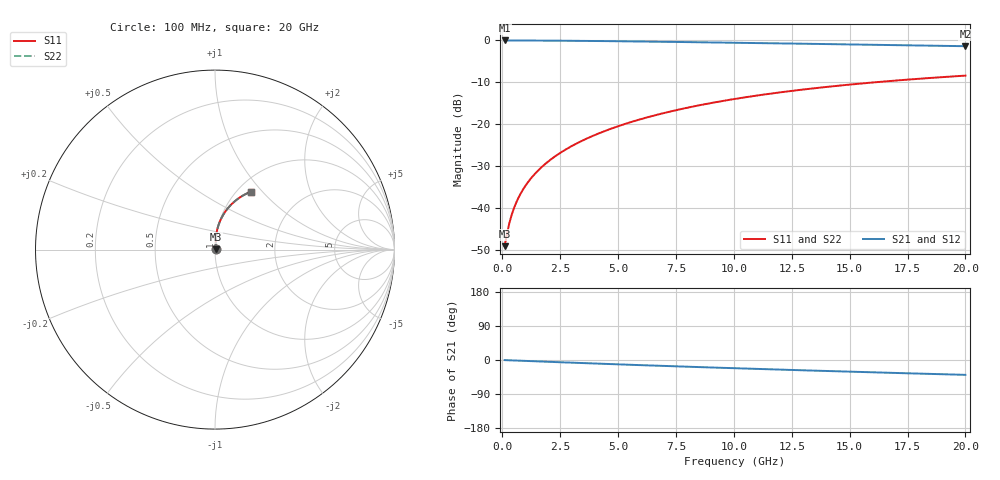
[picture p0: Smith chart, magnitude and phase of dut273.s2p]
! Touchstone file exported from HFSS 2024.1.0
!  File:  C:/UserFiles/LocalFiles/RDL_TSV_Batchsim/temp_RDL_bottom_273_1778702657.aedt
!  Generated:  04:06:40 AM May 14, 2026
!  Design:  RDL_bottom
!  Project:  temp_RDL_bottom_273_1778702657
!  Setup:  Setup1
!  Solution:  Sweep
! Variables:
!  dtsv = 10.80580581um
!  hbump = 3um
!  htsv = 71.61um
!  ldown = 510.22um
!  lrdl = 100um
!  p = 40
!  p1 = 59.57um
!  rhole = 1um
!  t = 450um
!  tdown = 2.77um
!  trdl = 3.915915916um
!  wdown = 24.5um
!  wrdl = 20um
# GHz S MA R 50.000000
! Terminal data exported
! Port[1] = RDL1_T1
! Port[2] = RDL1_T2
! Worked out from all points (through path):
!   200 points, 100 MHz to 20 GHz, reference 50 ohm
!   highest |S21| = -0.03 dB at 100 MHz (marker M1); lowest = -1.4 dB at 20 GHz (marker M2)
!   group delay of S21, straight-line fit = 5.39 ps
!   lowest |S11| = -49.0 dB at 100 MHz (marker M3), VSWR 1.01, Z = 50.3 + j0.198 ohm
!   |S11| at or under -10 dB: start of sweep to 16.07 GHz
!   |S22| runs from -49.0 to -8.4 dB; largest |S21 - S12| = 3.6e-15
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0.1  0.003532 33.9  0.9971 -0.2  0.9971 -0.2  0.003532 33.9
! Gamma 0 0 0 0
! Port Impedance 50 0 50 0
0.2  0.004938 52.0  0.9969 -0.5  0.9969 -0.5  0.004938 52.0
0.3  0.006571 61.1  0.9967 -0.7  0.9967 -0.7  0.006571 61.1
0.4  0.008256 66.4  0.9965 -1.0  0.9965 -1.0  0.008256 66.4
0.5  0.00995 69.9  0.9963 -1.2  0.9963 -1.2  0.00995 69.9
0.6  0.01165 72.5  0.9962 -1.5  0.9962 -1.5  0.01165 72.5
0.8  0.01507 76.0  0.9958 -1.9  0.9958 -1.9  0.01507 76.0
1.1  0.02026 79.3  0.9951 -2.6  0.9951 -2.6  0.02026 79.3
1.3  0.02378 80.8  0.9946 -3.1  0.9946 -3.1  0.02378 80.8
1.6  0.02912 82.3  0.9938 -3.8  0.9938 -3.8  0.02912 82.3
2.1  0.03819 83.8  0.9921 -5.0  0.9921 -5.0  0.03819 83.8
2.7  0.04936 84.8  0.9895 -6.4  0.9895 -6.4  0.04935 84.8
3.5  0.06471 85.2  0.9854 -8.2  0.9854 -8.2  0.06471 85.2
4.2  0.07856 85.1  0.9812 -9.8  0.9812 -9.8  0.07856 85.1
5  0.09479 84.5  0.976 -11.5  0.976 -11.5  0.09479 84.5
6.8  0.1324 82.3  0.9627 -15.3  0.9627 -15.3  0.1324 82.3
8.4  0.1662 79.6  0.95 -18.5  0.95 -18.5  0.1662 79.6
10.1  0.2017 76.5  0.9361 -21.8  0.9361 -21.8  0.2017 76.5
11.7  0.2342 73.4  0.9227 -24.8  0.9227 -24.8  0.2342 73.4
13.4  0.2674 70.1  0.9082 -27.9  0.9082 -27.9  0.2673 70.1
16.7  0.3271 64.0  0.88 -33.7  0.88 -33.7  0.327 64.0
20  0.38 58.2  0.8517 -39.2  0.8517 -39.2  0.3799 58.2
